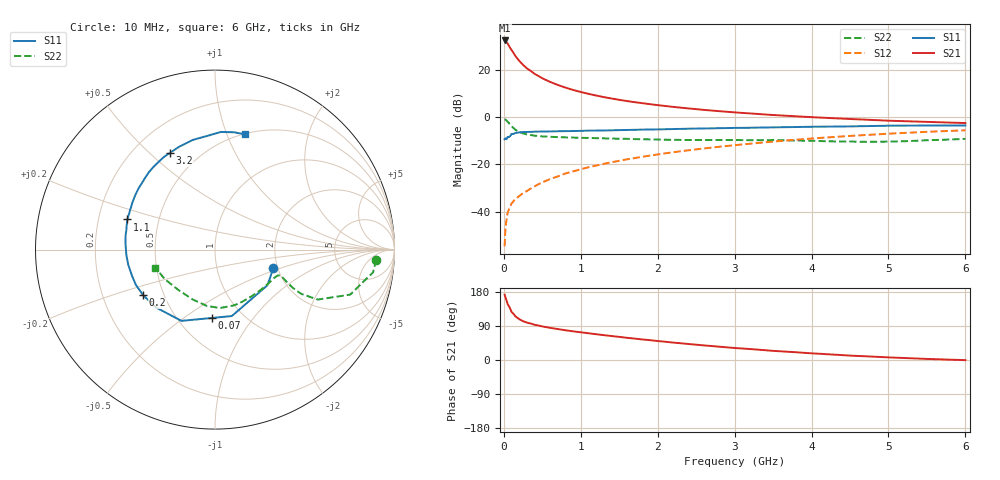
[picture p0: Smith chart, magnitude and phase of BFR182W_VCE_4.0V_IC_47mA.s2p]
! Infineon Technologies  Discrete & RF Semiconductors
! BFR182W
! VCE =  4.0 V,  IC =  47 mA
! Common Emitter S-Parameters:  Jan 2017
# GHz  S  MA  R  50
!  f  S11  S21  S12  S22
! GHz  MAG  ANG  MAG  ANG  MAG  ANG  MAG  ANG
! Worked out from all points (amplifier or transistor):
!   77 points, 10 MHz to 6 GHz, reference 50 ohm
!   highest |S21| = 32.3 dB at 10 MHz (marker M1)
!   |S21| within 3 dB of that: start of sweep to 79.93 MHz
!   unconditionally stable (mu >= 1): start of sweep to 11.26 MHz; 296.7 MHz to 2.454 GHz
!   at 130 MHz: K = 0.67, MSG = 31.0 dB, |S12| = -35.3 dB
!   at 2.2 GHz: K = 1.03, MAG = 8.5 dB, |S12| = -14.9 dB
!   at 6 GHz: K = 0.93, MSG = 1.5 dB, |S12| = -5.6 dB
!   S11 on the Smith chart (normalised r, x): 10 MHz: 1.89, -0.45; 70 MHz: 0.72, -0.64; 200 MHz: 0.38, -0.25; 1.1 GHz: 0.33, +0.15; 3.2 GHz: 0.35, +0.58; 6 GHz: 0.51, +1.16
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0.01  0.3412 -17.8  41.02 172.5  0.0019 73.4  0.8998 -3.6
0.02  0.3533 -34.2  40.56 165.8  0.0042 72.6  0.8897 -8.2
0.05  0.3819 -75.8  35.09 147.2  0.0096 66.8  0.7942 -18.4
0.07  0.3814 -92.8  30.93 140.5  0.0117 63.1  0.73 -21.0
0.1  0.4389 -115.2  25.76 126.8  0.015 59.6  0.6372 -25.9
0.15  0.4606 -135.6  19.34 115.2  0.0187 58.6  0.5386 -27.2
0.2  0.4742 -147.7  15.25 107.8  0.0216 61.9  0.4834 -26.2
0.25  0.4826 -156.0  12.55 102.4  0.025 63.1  0.4504 -24.9
0.3  0.4847 -162.0  10.6 98.7  0.0277 65.6  0.4284 -23.7
0.4  0.4909 -170.3  8.117 92.9  0.0346 69.6  0.4048 -22.3
0.5  0.4947 -176.6  6.548 88.6  0.042 71.1  0.3909 -21.9
0.6  0.4976 178.3  5.505 84.9  0.0491 71.9  0.383 -22.0
0.7  0.501 174.7  4.744 81.7  0.0559 73.7  0.3772 -22.6
0.9  0.5063 167.1  3.716 75.7  0.0714 74.4  0.3684 -24.7
1.1  0.5164 161.0  3.078 70.6  0.0872 75.1  0.3615 -27.4
1.5  0.5295 150.5  2.302 61.0  0.1194 74.3  0.3487 -34.5
2.1  0.5527 136.7  1.706 48.1  0.1718 71.3  0.3327 -48.4
3.1  0.5917 116.9  1.221 30.3  0.2644 63.1  0.3261 -75.0
3.2  0.5943 115.1  1.19 28.9  0.274 62.1  0.3253 -77.6
4.1  0.6251 99.8  0.975 16.5  0.3614 52.8  0.3124 -101.6
5.1  0.6569 85.8  0.827 6.1  0.4533 41.1  0.3059 -136.3
6  0.6636 75.4  0.746 -0.4  0.5253 30.4  0.3466 -163.2
